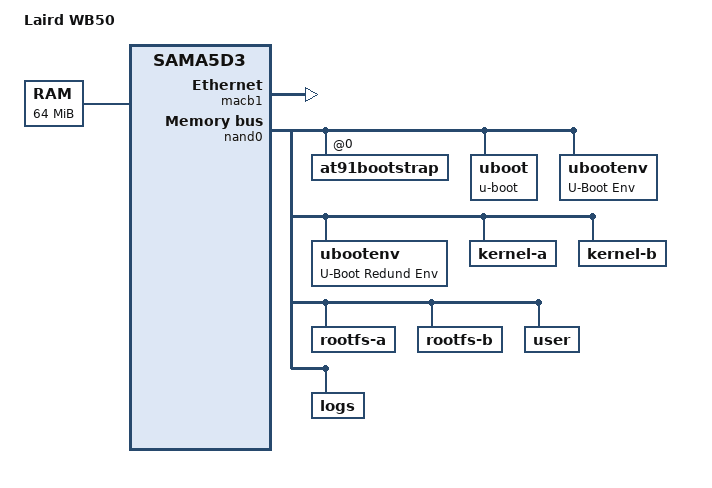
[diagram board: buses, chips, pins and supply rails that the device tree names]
/*
 * wb50n.dts - Device Tree file for wb50n board
 *
 *  Copyright (C) 2015 Laird
 *
 * Licensed under GPLv2 or later.
 */
/dts-v1/;
#include "sama5d31.dtsi"
#include "sama5d3xmb.dtsi"

/ {
	model = "Laird WB50";
	compatible = "laird,wb50n", "atmel,sama5d31ek", "atmel,sama5d3xmb", "atmel,sama5d3xcm", "atmel,sama5d31", "atmel,sama5d3", "atmel,sama5";

	chosen {
		bootargs = "console=ttyS0,115200 mem=64M";
	};

	memory {
		reg = <0x20000000 0x4000000>;
	};

	ahb {
		apb {
			macb1: ethernet@f802c000 {
				status = "okay";
			};
		};

		nand0: nand@60000000 {
			nand-bus-width = <8>;
			nand-ecc-mode = "hw";
			atmel,has-pmecc;
			atmel,pmecc-cap = <4>;
			atmel,pmecc-sector-size = <512>;
			nand-on-flash-bbt;
			status = "okay";

			at91bootstrap@0 {
				label = "at91bootstrap";
				reg = <0x0 0x20000>;
			};

			uboot@20000 {
				label = "u-boot";
				reg = <0x20000 0x80000>;
			};

			ubootenv@a0000 {
				label = "U-Boot Env";
				reg = <0xa0000 0x20000>;
			};

			ubootenv@c0000 {
				label = "U-Boot Redund Env";
				reg = <0xc0000 0x20000>;
			};

			kernel-a@e0000 {
				label = "kernel-a";
				reg = <0xe0000 0x280000>;
			};

			kernel-b@360000 {
				label = "kernel-b";
				reg = <0x360000 0x280000>;
			};

			rootfs-a@5e0000 {
				label = "rootfs-a";
				reg = <0x5e0000 0x2600000>;
			};

			rootfs-b@2be0000 {
				label = "rootfs-b";
				reg = <0x2be0000 0x2600000>;
			};

			user@51e0000 {
				label = "user";
				reg = <0x51e0000 0x2dc0000>;
			};

			logs@7fa0000 {
				label = "logs";
				reg = <0x7fa0000 0x60000>;
			};
		};
	};

	atheros {
		compatible = "atheros,ath6kl";
		atheros,board-id = "SD32";
 	};

	leds {
	};

};
